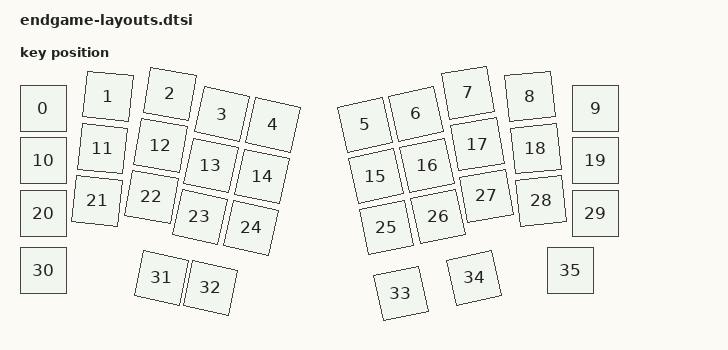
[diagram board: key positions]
/*
 * Copyright (c) 2025 The ZMK Contributors
 *
 * SPDX-License-Identifier: MIT
 */

#include <physical_layouts.dtsi>

/ {
    default_layout: default_layout {
        compatible = "zmk,physical-layout";
        display-name = "DEFAULT";
        kscan = <&kscan0>;
        transform = <&default_transform>;

        keys  //                     w   h    x    y     rot    rx    ry
            = <&key_physical_attrs 100 100    0    0       0     0     0>
            , <&key_physical_attrs 100 100  140   25     600   650 (-45)>
            , <&key_physical_attrs 100 100  270   30    1000   650 (-45)>
            , <&key_physical_attrs 100 100  385   60    1200   650 (-45)>
            , <&key_physical_attrs 100 100  490   60    1200   650 (-45)>
            , <&key_physical_attrs 100 100  615   50 (-1200)   600 (-45)>
            , <&key_physical_attrs 100 100  720   50 (-1200)   600 (-45)>
            , <&key_physical_attrs 100 100  835   20 (-1000)   600 (-45)>
            , <&key_physical_attrs 100 100  965   15  (-600)   650 (-45)>
            , <&key_physical_attrs 100 100 1105    0       0     0     0>
            , <&key_physical_attrs 100 100    0  105       0     0     0>
            , <&key_physical_attrs 100 100  140  130     600   650 (-45)>
            , <&key_physical_attrs 100 100  270  135    1000   650 (-45)>
            , <&key_physical_attrs 100 100  385  165    1200   650 (-45)>
            , <&key_physical_attrs 100 100  490  165    1200   650 (-45)>
            , <&key_physical_attrs 100 100  615  155 (-1200)   600 (-45)>
            , <&key_physical_attrs 100 100  720  155 (-1200)   600 (-45)>
            , <&key_physical_attrs 100 100  835  125 (-1000)   600 (-45)>
            , <&key_physical_attrs 100 100  965  120  (-600)   650 (-45)>
            , <&key_physical_attrs 100 100 1105  105       0     0     0>
            , <&key_physical_attrs 100 100    0  210       0     0     0>
            , <&key_physical_attrs 100 100  140  235     600   650 (-45)>
            , <&key_physical_attrs 100 100  270  240    1000   650 (-45)>
            , <&key_physical_attrs 100 100  385  270    1200   650 (-45)>
            , <&key_physical_attrs 100 100  490  270    1200   650 (-45)>
            , <&key_physical_attrs 100 100  615  260 (-1200)   600 (-45)>
            , <&key_physical_attrs 100 100  720  260 (-1200)   600 (-45)>
            , <&key_physical_attrs 100 100  835  230 (-1000)   600 (-45)>
            , <&key_physical_attrs 100 100  965  225  (-600)   650 (-45)>
            , <&key_physical_attrs 100 100 1105  210       0     0     0>
            , <&key_physical_attrs 100 100    0  325       0     0     0>
            , <&key_physical_attrs 100 100  335  405    1200   650 (-45)>
            , <&key_physical_attrs 100 100  435  405    1200   650 (-45)>
            , <&key_physical_attrs 100 100  615  395 (-1200)   600 (-45)>
            , <&key_physical_attrs 100 100  765  395 (-1200)   600 (-45)>
            , <&key_physical_attrs 100 100 1055  325       0     0     0>
            ;
    };
};
